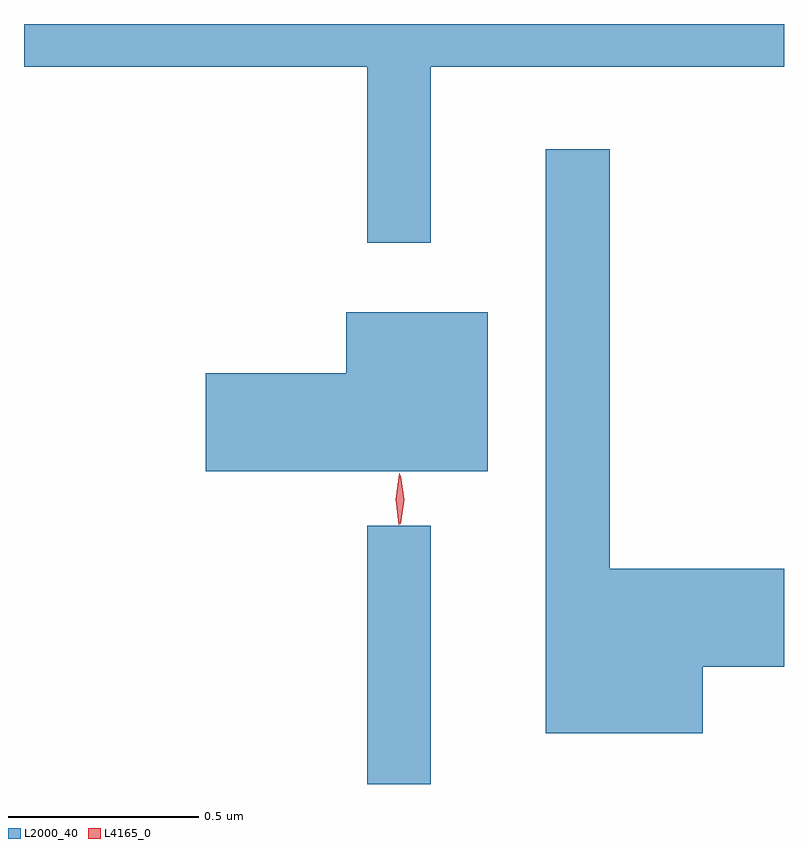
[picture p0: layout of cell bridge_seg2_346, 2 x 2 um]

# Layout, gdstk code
import gdstk
lib = gdstk.Library(unit=1e-6, precision=1e-09)
def R(c, l, rs):  # rectangles x0, y0, x1, y1
    for r in rs: c.add(gdstk.rectangle(r[:2], r[2:], *l))
def P(c, l, *ps):  # polygons
    for p in ps: c.add(gdstk.Polygon(p, *l))
L2000_40 = (2000, 40)
L4165_0 = (4165, 0)

bridge_seg2_346 = lib.new_cell('bridge_seg2_346')
R(bridge_seg2_346, L2000_40, [(323.761,999.808,323.929,1000.488)])
P(bridge_seg2_346, L2000_40, [(323.929,1001.696),(324.858,1001.696),(324.858,1001.808),(322.858,1001.808),(322.858,1001.696),(323.761,1001.696),(323.761,1001.233),(323.929,1001.233)],
  [(324.644,1000.116),(324.858,1000.116),(324.858,1000.374),(324.399,1000.374),(324.399,1001.478),(324.231,1001.478),(324.231,999.941),(324.644,999.941)],
  [(324.079,1001.049),(323.706,1001.049),(323.706,1000.889),(323.336,1000.889),(323.336,1000.631),(324.079,1000.631)])
P(bridge_seg2_346, L4165_0, [(323.848,1000.493),(323.839,1000.556),(323.848,1000.619),(323.849,1000.62),(323.849,1000.619),(323.859,1000.556),(323.849,1000.493),(323.849,1000.493)],
  [(323.844,1000.49),(323.836,1000.558),(323.846,1000.625),(323.847,1000.626),(323.847,1000.625),(323.856,1000.558),(323.846,1000.49),(323.845,1000.49)])

lib.write_gds('bridge_seg2_346.gds')
